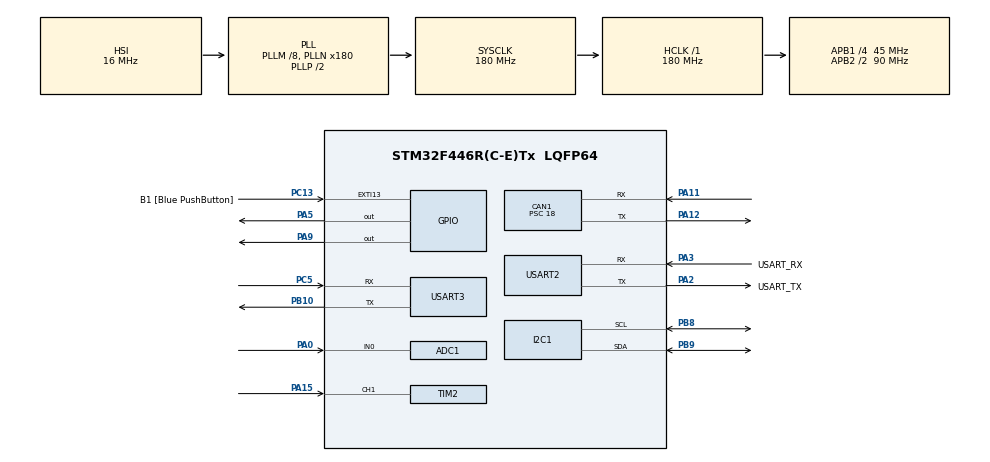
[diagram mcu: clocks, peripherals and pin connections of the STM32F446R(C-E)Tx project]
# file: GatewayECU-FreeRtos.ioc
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ADC1.Channel-0\#ChannelRegularConversion=ADC_CHANNEL_0
ADC1.ContinuousConvMode=ENABLE
ADC1.NbrOfConversionFlag=1
ADC1.Rank-0\#ChannelRegularConversion=1
ADC1.SamplingTime-0\#ChannelRegularConversion=ADC_SAMPLETIME_3CYCLES
ADC1.master=1
CAN1.BS1=CAN_BS1_2TQ
CAN1.BS2=CAN_BS2_2TQ
CAN1.CalculateBaudRate=500000
CAN1.CalculateTimeBit=2000
CAN1.CalculateTimeQuantum=400.0
CAN1.Prescaler=18
FREERTOS.Queues01=UltrasonicQueue,1,uint16_t,0,Dynamic,NULL,NULL;GyroQueue,1,uint16_t,0,Dynamic,NULL,NULL;WaterLevelQueue,1,uint16_t,0,Dynamic,NULL,NULL;SpeedQueue,1,uint16_t,0,Dynamic,NULL,NULL;TempHumiQueue,1,uint16_t,0,Dynamic,NULL,NULL;EchoQueue,1,uint32_t,0,Dynamic,NULL,NULL
FREERTOS.Tasks01=UltrasonicSenso,32,128,UltrasonicSensorTask,Default,NULL,Dynamic,NULL,NULL;WaterLevelHandl,16,128,WaterLevelTask,Default,NULL,Dynamic,NULL,NULL;GyroHandle,24,128,GyroTask,Default,NULL,Dynamic,NULL,NULL;UARTHandle,41,128,UARTTask,Default,NULL,Dynamic,NULL,NULL;CANHandle,40,128,CANTask,Default,NULL,Dynamic,NULL,NULL
Mcu.Family=STM32F4
Mcu.Name=STM32F446R(C-E)Tx
Mcu.Package=LQFP64
NVIC.CAN1_RX0_IRQn=true\:5\:0\:false\:false\:true\:true\:true\:true\:true
NVIC.PriorityGroup=NVIC_PRIORITYGROUP_4
NVIC.TIM1_UP_TIM10_IRQn=true\:15\:0\:false\:false\:true\:false\:false\:true\:true
NVIC.TIM2_IRQn=true\:5\:0\:false\:false\:true\:true\:true\:true\:true
NVIC.TimeBase=TIM1_UP_TIM10_IRQn
NVIC.TimeBaseIP=TIM1
PA0-WKUP.Signal=ADCx_IN0
PA11.Mode=CAN_Activate
PA11.Signal=CAN1_RX
PA12.Mode=CAN_Activate
PA12.Signal=CAN1_TX
PA13.GPIO_Label=TMS
PA13.Mode=Trace_Asynchronous_SW
PA13.Signal=SYS_JTMS-SWDIO
PA14.GPIO_Label=TCK
PA14.Mode=Trace_Asynchronous_SW
PA14.Signal=SYS_JTCK-SWCLK
PA15.Signal=S_TIM2_CH1_ETR
PA2.GPIO_Label=USART_TX
PA2.Mode=Asynchronous
PA2.Signal=USART2_TX
PA3.GPIO_Label=USART_RX
PA3.Mode=Asynchronous
PA3.Signal=USART2_RX
PA5.Signal=GPIO_Output
PA9.Signal=GPIO_Output
PB10.Mode=Asynchronous
PB10.Signal=USART3_TX
PB3.GPIO_Label=SWO
PB3.Mode=Trace_Asynchronous_SW
PB3.Signal=SYS_JTDO-SWO
PB8.Mode=I2C
PB8.Signal=I2C1_SCL
PB9.Mode=I2C
PB9.Signal=I2C1_SDA
PC13.GPIO_Label=B1 [Blue PushButton]
PC13.GPIO_ModeDefaultEXTI=GPIO_MODE_IT_FALLING
PC13.Signal=GPXTI13
PC14-OSC32_IN.Mode=LSE-External-Oscillator
PC14-OSC32_IN.Signal=RCC_OSC32_IN
PC15-OSC32_OUT.Mode=LSE-External-Oscillator
PC15-OSC32_OUT.Signal=RCC_OSC32_OUT
PC5.Mode=Asynchronous
PC5.Signal=USART3_RX
PH0-OSC_IN.Mode=HSE-External-Oscillator
PH0-OSC_IN.Signal=RCC_OSC_IN
PH1-OSC_OUT.Mode=HSE-External-Oscillator
PH1-OSC_OUT.Signal=RCC_OSC_OUT
ProjectManager.HeapSize=0x200
ProjectManager.StackSize=0x400
ProjectManager.TargetToolchain=STM32CubeIDE
RCC.48MHZClocksFreq_Value=84000000
RCC.AHBFreq_Value=180000000
RCC.APB1CLKDivider=RCC_HCLK_DIV4
RCC.APB1Freq_Value=45000000
RCC.APB1TimFreq_Value=90000000
RCC.APB2CLKDivider=RCC_HCLK_DIV2
RCC.APB2Freq_Value=90000000
RCC.APB2TimFreq_Value=180000000
RCC.CortexFreq_Value=180000000
RCC.FLatency-AdvancedSettings=FLASH_LATENCY_5
RCC.HCLKFreq_Value=180000000
RCC.HSE_VALUE=8000000
RCC.HSI_VALUE=16000000
RCC.PLLM=8
RCC.PLLN=180
RCC.SYSCLKFreq_VALUE=180000000
RCC.SYSCLKSource=RCC_SYSCLKSOURCE_PLLCLK
RCC.USBFreq_Value=180000000
RCC.VCOOutputFreq_Value=360000000
SH.ADCx_IN0.0=ADC1_IN0,IN0
SH.S_TIM2_CH1_ETR.0=TIM2_CH1,Input_Capture1_from_TI1
TIM2.Channel-Input_Capture1_from_TI1=TIM_CHANNEL_1
TIM2.Period=65535
TIM2.Prescaler=90-1
USART2.VirtualMode=VM_ASYNC
USART3.VirtualMode=VM_ASYNC
VP_FREERTOS_VS_CMSIS_V2.Mode=CMSIS_V2
VP_SYS_VS_tim1.Mode=TIM1
board=NUCLEO-F446RE

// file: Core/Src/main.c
/* USER CODE BEGIN Header */
/**
  ******************************************************************************
  * @file           : main.c
  * @brief          : Main program body
  ******************************************************************************
  * @attention
  *
  * Copyright (c) 2026 STMicroelectronics.
  * All rights reserved.
  *
  * This software is licensed under terms that can be found in the LICENSE file
  * in the root directory of this software component.
  * If no LICENSE file comes with this software, it is provided AS-IS.
  *
  ******************************************************************************
  */
/* USER CODE END Header */
#include "main.h"
#include "cmsis_os.h"

/* USER CODE BEGIN Includes */
#include "Cmn.h"
#include "HC_SR04.h"
#include "GY_521.h"
#include <stdio.h>
/* USER CODE END Includes */

ADC_HandleTypeDef hadc1;

CAN_HandleTypeDef hcan1;

I2C_HandleTypeDef hi2c1;

TIM_HandleTypeDef htim2;

UART_HandleTypeDef huart2;
UART_HandleTypeDef huart3;

/* Definitions for UltrasonicSenso */
osThreadId_t UltrasonicSensoHandle;
const osThreadAttr_t UltrasonicSenso_attributes = {
  .name = "UltrasonicSenso",
  .stack_size = 512 * 4,
  .priority = (osPriority_t) osPriorityAboveNormal,
};
/* Definitions for WaterLevelHandl */
osThreadId_t WaterLevelHandlHandle;
const osThreadAttr_t WaterLevelHandl_attributes = {
  .name = "WaterLevelHandl",
  .stack_size = 384 * 4,
  .priority = (osPriority_t) osPriorityBelowNormal,
};
/* Definitions for GyroHandle */
osThreadId_t GyroHandleHandle;
const osThreadAttr_t GyroHandle_attributes = {
  .name = "GyroHandle",
  .stack_size = 512 * 4,
  .priority = (osPriority_t) osPriorityNormal,
};
/* Definitions for UARTHandle */
osThreadId_t UARTHandleHandle;
const osThreadAttr_t UARTHandle_attributes = {
  .name = "UARTHandle",
  .stack_size = 512 * 4,
  .priority = (osPriority_t) osPriorityHigh1,
};
///* Definitions for CANHandle */
//osThreadId_t CANHandleHandle;
//const osThreadAttr_t CANHandle_attributes = {
//  .name = "CANHandle",
//  .stack_size = 128 * 4,
//  .priority = (osPriority_t) osPriorityHigh,
//};
/* Definitions for UltrasonicQueue */
osMessageQueueId_t UltrasonicQueueHandle;
const osMessageQueueAttr_t UltrasonicQueue_attributes = {
  .name = "UltrasonicQueue"
};
/* Definitions for GyroQueue */
osMessageQueueId_t GyroQueueHandle;
const osMessageQueueAttr_t GyroQueue_attributes = {
  .name = "GyroQueue"
};
/* Definitions for WaterLevelQueue */
osMessageQueueId_t WaterLevelQueueHandle;
const osMessageQueueAttr_t WaterLevelQueue_attributes = {
  .name = "WaterLevelQueue"
};
/* Definitions for SpeedQueue */
osMessageQueueId_t SpeedQueueHandle;
const osMessageQueueAttr_t SpeedQueue_attributes = {
  .name = "SpeedQueue"
};
/* Definitions for TempHumiQueue */
osMessageQueueId_t TempHumiQueueHandle;
const osMessageQueueAttr_t TempHumiQueue_attributes = {
  .name = "TempHumiQueue"
};
/* Definitions for EchoQueue */
osMessageQueueId_t EchoQueueHandle;
const osMessageQueueAttr_t EchoQueue_attributes = {
  .name = "EchoQueue"
};
/* USER CODE BEGIN PV */

/* HC-SR04 Variables */
uint32_t IC_Val1 = 0;
uint32_t IC_Val2 = 0;
uint32_t Difference = 0;
uint8_t Distance = 0;
uint8_t Is_First_Captured = 0;

/*TempHumi Sensor Struct*/
typedef struct {
    float temperature;
    float humidity;
} DHT11_Data_t;
/* USER CODE END PV */

void SystemClock_Config(void);
static void MX_GPIO_Init(void);
static void MX_USART2_UART_Init(void);
static void MX_I2C1_Init(void);
static void MX_TIM2_Init(void);
static void MX_ADC1_Init(void);
static void MX_CAN1_Init(void);
static void MX_USART3_UART_Init(void);
void UltrasonicSensorTask(void *argument);
void WaterLevelTask(void *argument);
void GyroTask(void *argument);
void UARTTask(void *argument);
//void CANTask(void *argument);

/* USER CODE BEGIN 0 */

//UltraSonic Sensor
void HAL_TIM_IC_CaptureCallback(TIM_HandleTypeDef *htim)
{
	if (htim->Channel == HAL_TIM_ACTIVE_CHANNEL_1)  // if the interrupt source is channel1
	{
		if (Is_First_Captured==0) // if the first value is not captured
		{
			IC_Val1 = HAL_TIM_ReadCapturedValue(htim, TIM_CHANNEL_1); // read the first value
			Is_First_Captured = 1;  // set the first captured as true
			// Now change the polarity to falling edge
			__HAL_TIM_SET_CAPTUREPOLARITY(htim, TIM_CHANNEL_1, TIM_INPUTCHANNELPOLARITY_FALLING);
		}

		else if (Is_First_Captured==1)   // if the first is already captured
		{
			IC_Val2 = HAL_TIM_ReadCapturedValue(htim, TIM_CHANNEL_1);  // read second value
			__HAL_TIM_SET_COUNTER(htim, 0);  // reset the counter

			if (IC_Val2 > IC_Val1)
			{
				Difference = IC_Val2-IC_Val1;
			}

			else if (IC_Val1 > IC_Val2)
			{
				Difference = (0xffff - IC_Val1) + IC_Val2;
			}

			Is_First_Captured = 0;

			osMessageQueuePut(EchoQueueHandle, &Difference, 0, 0);

			// set polarity to rising edge
			__HAL_TIM_SET_CAPTUREPOLARITY(htim, TIM_CHANNEL_1, TIM_INPUTCHANNELPOLARITY_RISING);
			__HAL_TIM_DISABLE_IT(&htim2, TIM_IT_CC1);
		}
	}
}

//CAN
CAN_RxHeaderTypeDef RxHeader;
uint8_t RxData[8];

void HAL_CAN_RxFifo0MsgPendingCallback(CAN_HandleTypeDef *hcan){
    HAL_CAN_GetRxMessage(&hcan1, CAN_RX_FIFO0, &RxHeader, RxData);

    if(RxHeader.StdId == 0x301){  // Speed
        uint8_t speed = RxData[0];
        osMessageQueuePut(SpeedQueueHandle, &speed, 0, 0);
    }
    else if(RxHeader.StdId == 0x302){  // Temp + Humidity
        DHT11_Data_t dht_data;
        memcpy(&dht_data.temperature, &RxData[0], 4);
        memcpy(&dht_data.humidity, &RxData[4], 4);
        osMessageQueuePut(TempHumiQueueHandle, &dht_data, 0, 0);
    }

}

// Delete CAN task entirely
/* USER CODE END 0 */

int main(void)
{

  /* MCU Configuration--------------------------------------------------------*/

  /* Reset of all peripherals, Initializes the Flash interface and the Systick. */
  HAL_Init();

  /* Configure the system clock */
  SystemClock_Config();

  /* Initialize all configured peripherals */
  MX_GPIO_Init();
  MX_USART2_UART_Init();
  MX_I2C1_Init();
  MX_TIM2_Init();
  MX_ADC1_Init();
  MX_CAN1_Init();
  MX_USART3_UART_Init();
  /* USER CODE BEGIN 2 */
  HAL_TIM_IC_Start(&htim2, TIM_CHANNEL_1);
  HAL_CAN_Start(&hcan1);

  HAL_CAN_ActivateNotification(&hcan1, CAN_IT_RX_FIFO0_MSG_PENDING);
  // These are REQUIRED for RTOS:
  HAL_NVIC_SetPriority(CAN1_RX0_IRQn, 5, 0);
  HAL_NVIC_EnableIRQ(CAN1_RX0_IRQn);
  /* USER CODE END 2 */

  /* Init scheduler */
  osKernelInitialize();

  /* Create the queue(s) */
  /* creation of UltrasonicQueue */
  UltrasonicQueueHandle = osMessageQueueNew (1, sizeof(uint8_t), &UltrasonicQueue_attributes);

  /* creation of GyroQueue */
  GyroQueueHandle = osMessageQueueNew (1, sizeof(float), &GyroQueue_attributes);

  /* creation of WaterLevelQueue */
  WaterLevelQueueHandle = osMessageQueueNew (1, sizeof(uint32_t), &WaterLevelQueue_attributes);

  /* creation of SpeedQueue */
  SpeedQueueHandle = osMessageQueueNew (1, sizeof(uint8_t), &SpeedQueue_attributes);

  /* creation of TempHumiQueue */
  TempHumiQueueHandle = osMessageQueueNew (1, sizeof(DHT11_Data_t), &TempHumiQueue_attributes);

  /* creation of EchoQueue */
  EchoQueueHandle = osMessageQueueNew (1, sizeof(uint32_t), &EchoQueue_attributes);

  /* Create the thread(s) */
  /* creation of UltrasonicSenso */
  UltrasonicSensoHandle = osThreadNew(UltrasonicSensorTask, NULL, &UltrasonicSenso_attributes);

  /* creation of WaterLevelHandl */
  WaterLevelHandlHandle = osThreadNew(WaterLevelTask, NULL, &WaterLevelHandl_attributes);

  /* creation of GyroHandle */
  GyroHandleHandle = osThreadNew(GyroTask, NULL, &GyroHandle_attributes);

  /* creation of UARTHandle */
  UARTHandleHandle = osThreadNew(UARTTask, NULL, &UARTHandle_attributes);

  /* creation of CANHandle */
 // CANHandleHandle = osThreadNew(CANTask, NULL, &CANHandle_attributes);

  /* Start scheduler */
  osKernelStart();

  /* We should never get here as control is now taken by the scheduler */

  /* Infinite loop */
  while (1)
  {

  }
}

void SystemClock_Config(void)
{
  RCC_OscInitTypeDef RCC_OscInitStruct = {0};
  RCC_ClkInitTypeDef RCC_ClkInitStruct = {0};

  /** Configure the main internal regulator output voltage
  */
  __HAL_RCC_PWR_CLK_ENABLE();
  __HAL_PWR_VOLTAGESCALING_CONFIG(PWR_REGULATOR_VOLTAGE_SCALE1);

  /** Initializes the RCC Oscillators according to the specified parameters
  * in the RCC_OscInitTypeDef structure.
  */
  RCC_OscInitStruct.OscillatorType = RCC_OSCILLATORTYPE_HSI;
  RCC_OscInitStruct.HSIState = RCC_HSI_ON;
  RCC_OscInitStruct.HSICalibrationValue = RCC_HSICALIBRATION_DEFAULT;
  RCC_OscInitStruct.PLL.PLLState = RCC_PLL_ON;
  RCC_OscInitStruct.PLL.PLLSource = RCC_PLLSOURCE_HSI;
  RCC_OscInitStruct.PLL.PLLM = 8;
  RCC_OscInitStruct.PLL.PLLN = 180;
  RCC_OscInitStruct.PLL.PLLP = RCC_PLLP_DIV2;
  RCC_OscInitStruct.PLL.PLLQ = 2;
  RCC_OscInitStruct.PLL.PLLR = 2;
  if (HAL_RCC_OscConfig(&RCC_OscInitStruct) != HAL_OK)
  {
    Error_Handler();
  }

  /** Activate the Over-Drive mode
  */
  if (HAL_PWREx_EnableOverDrive() != HAL_OK)
  {
    Error_Handler();
  }

  /** Initializes the CPU, AHB and APB buses clocks
  */
  RCC_ClkInitStruct.ClockType = RCC_CLOCKTYPE_HCLK|RCC_CLOCKTYPE_SYSCLK
                              |RCC_CLOCKTYPE_PCLK1|RCC_CLOCKTYPE_PCLK2;
  RCC_ClkInitStruct.SYSCLKSource = RCC_SYSCLKSOURCE_PLLCLK;
  RCC_ClkInitStruct.AHBCLKDivider = RCC_SYSCLK_DIV1;
  RCC_ClkInitStruct.APB1CLKDivider = RCC_HCLK_DIV4;
  RCC_ClkInitStruct.APB2CLKDivider = RCC_HCLK_DIV2;

  if (HAL_RCC_ClockConfig(&RCC_ClkInitStruct, FLASH_LATENCY_5) != HAL_OK)
  {
    Error_Handler();
  }
}

static void MX_ADC1_Init(void)
{

  ADC_ChannelConfTypeDef sConfig = {0};

  /** Configure the global features of the ADC (Clock, Resolution, Data Alignment and number of conversion)
  */
  hadc1.Instance = ADC1;
  hadc1.Init.ClockPrescaler = ADC_CLOCK_SYNC_PCLK_DIV4;
  hadc1.Init.Resolution = ADC_RESOLUTION_12B;
  hadc1.Init.ScanConvMode = DISABLE;
  hadc1.Init.ContinuousConvMode = ENABLE;
  hadc1.Init.DiscontinuousConvMode = DISABLE;
  hadc1.Init.ExternalTrigConvEdge = ADC_EXTERNALTRIGCONVEDGE_NONE;
  hadc1.Init.ExternalTrigConv = ADC_SOFTWARE_START;
  hadc1.Init.DataAlign = ADC_DATAALIGN_RIGHT;
  hadc1.Init.NbrOfConversion = 1;
  hadc1.Init.DMAContinuousRequests = DISABLE;
  hadc1.Init.EOCSelection = ADC_EOC_SINGLE_CONV;
  if (HAL_ADC_Init(&hadc1) != HAL_OK)
  {
    Error_Handler();
  }

  /** Configure for the selected ADC regular channel its corresponding rank in the sequencer and its sample time.
  */
  sConfig.Channel = ADC_CHANNEL_0;
  sConfig.Rank = 1;
  sConfig.SamplingTime = ADC_SAMPLETIME_3CYCLES;
  if (HAL_ADC_ConfigChannel(&hadc1, &sConfig) != HAL_OK)
  {
    Error_Handler();
  }

}

static void MX_CAN1_Init(void)
{

  hcan1.Instance = CAN1;
  hcan1.Init.Prescaler = 18;
  hcan1.Init.Mode = CAN_MODE_NORMAL;
  hcan1.Init.SyncJumpWidth = CAN_SJW_1TQ;
  hcan1.Init.TimeSeg1 = CAN_BS1_2TQ;
  hcan1.Init.TimeSeg2 = CAN_BS2_2TQ;
  hcan1.Init.TimeTriggeredMode = DISABLE;
  hcan1.Init.AutoBusOff = DISABLE;
  hcan1.Init.AutoWakeUp = DISABLE;
  hcan1.Init.AutoRetransmission = DISABLE;
  hcan1.Init.ReceiveFifoLocked = DISABLE;
  hcan1.Init.TransmitFifoPriority = DISABLE;
  if (HAL_CAN_Init(&hcan1) != HAL_OK)
  {
    Error_Handler();
  }
  /* USER CODE BEGIN CAN1_Init 2 */
  CAN_FilterTypeDef canfilterconfig;

  canfilterconfig.FilterBank = 18;
  canfilterconfig.FilterMode = CAN_FILTERMODE_IDMASK;
  canfilterconfig.FilterScale = CAN_FILTERSCALE_32BIT;
  canfilterconfig.FilterIdHigh = 0x300 << 5;
  canfilterconfig.FilterIdLow = 0x0000;
  canfilterconfig.FilterMaskIdHigh = 0x7FC << 5;
  canfilterconfig.FilterMaskIdLow = 0x0000;
  canfilterconfig.FilterFIFOAssignment = CAN_RX_FIFO0; /* The data will be received in FIFO0 */
  canfilterconfig.FilterActivation = CAN_FILTER_ENABLE;
  canfilterconfig.SlaveStartFilterBank = 20;
  if (HAL_CAN_ConfigFilter(&hcan1, &canfilterconfig) != HAL_OK)
    {
      /* Filter configuration Error */
      Error_Handler();
    }

  /* USER CODE END CAN1_Init 2 */

}

static void MX_I2C1_Init(void)
{

  hi2c1.Instance = I2C1;
  hi2c1.Init.ClockSpeed = 100000;
  hi2c1.Init.DutyCycle = I2C_DUTYCYCLE_2;
  hi2c1.Init.OwnAddress1 = 0;
  hi2c1.Init.AddressingMode = I2C_ADDRESSINGMODE_7BIT;
  hi2c1.Init.DualAddressMode = I2C_DUALADDRESS_DISABLE;
  hi2c1.Init.OwnAddress2 = 0;
  hi2c1.Init.GeneralCallMode = I2C_GENERALCALL_DISABLE;
  hi2c1.Init.NoStretchMode = I2C_NOSTRETCH_DISABLE;
  if (HAL_I2C_Init(&hi2c1) != HAL_OK)
  {
    Error_Handler();
  }

}

static void MX_TIM2_Init(void)
{

  TIM_MasterConfigTypeDef sMasterConfig = {0};
  TIM_IC_InitTypeDef sConfigIC = {0};

  htim2.Instance = TIM2;
  htim2.Init.Prescaler = 90-1;
  htim2.Init.CounterMode = TIM_COUNTERMODE_UP;
  htim2.Init.Period = 65535;
  htim2.Init.ClockDivision = TIM_CLOCKDIVISION_DIV1;
  htim2.Init.AutoReloadPreload = TIM_AUTORELOAD_PRELOAD_DISABLE;
  if (HAL_TIM_IC_Init(&htim2) != HAL_OK)
  {
    Error_Handler();
  }
  sMasterConfig.MasterOutputTrigger = TIM_TRGO_RESET;
  sMasterConfig.MasterSlaveMode = TIM_MASTERSLAVEMODE_DISABLE;
  if (HAL_TIMEx_MasterConfigSynchronization(&htim2, &sMasterConfig) != HAL_OK)
  {
    Error_Handler();
  }
  sConfigIC.ICPolarity = TIM_INPUTCHANNELPOLARITY_RISING;
  sConfigIC.ICSelection = TIM_ICSELECTION_DIRECTTI;
  sConfigIC.ICPrescaler = TIM_ICPSC_DIV1;
  sConfigIC.ICFilter = 0;
  if (HAL_TIM_IC_ConfigChannel(&htim2, &sConfigIC, TIM_CHANNEL_1) != HAL_OK)
  {
    Error_Handler();
  }

}

static void MX_USART2_UART_Init(void)
{

  huart2.Instance = USART2;
  huart2.Init.BaudRate = 115200;
  huart2.Init.WordLength = UART_WORDLENGTH_8B;
  huart2.Init.StopBits = UART_STOPBITS_1;
  huart2.Init.Parity = UART_PARITY_NONE;
  huart2.Init.Mode = UART_MODE_TX_RX;
  huart2.Init.HwFlowCtl = UART_HWCONTROL_NONE;
  huart2.Init.OverSampling = UART_OVERSAMPLING_16;
  if (HAL_UART_Init(&huart2) != HAL_OK)
  {
    Error_Handler();
  }

}

static void MX_USART3_UART_Init(void)
{

  huart3.Instance = USART3;
  huart3.Init.BaudRate = 115200;
  huart3.Init.WordLength = UART_WORDLENGTH_8B;
  huart3.Init.StopBits = UART_STOPBITS_1;
  huart3.Init.Parity = UART_PARITY_NONE;
  huart3.Init.Mode = UART_MODE_TX_RX;
  huart3.Init.HwFlowCtl = UART_HWCONTROL_NONE;
  huart3.Init.OverSampling = UART_OVERSAMPLING_16;
  if (HAL_UART_Init(&huart3) != HAL_OK)
  {
    Error_Handler();
  }

}

static void MX_GPIO_Init(void)
{
  GPIO_InitTypeDef GPIO_InitStruct = {0};

  /* GPIO Ports Clock Enable */
  __HAL_RCC_GPIOC_CLK_ENABLE();
  __HAL_RCC_GPIOH_CLK_ENABLE();
  __HAL_RCC_GPIOA_CLK_ENABLE();
  __HAL_RCC_GPIOB_CLK_ENABLE();

  /*Configure GPIO pin Output Level */
  HAL_GPIO_WritePin(GPIOA, GPIO_PIN_5|GPIO_PIN_9, GPIO_PIN_RESET);

  /*Configure GPIO pin : B1_Pin */
  GPIO_InitStruct.Pin = B1_Pin;
  GPIO_InitStruct.Mode = GPIO_MODE_IT_FALLING;
  GPIO_InitStruct.Pull = GPIO_NOPULL;
  HAL_GPIO_Init(B1_GPIO_Port, &GPIO_InitStruct);

  /*Configure GPIO pins : PA5 PA9 */
  GPIO_InitStruct.Pin = GPIO_PIN_5|GPIO_PIN_9;
  GPIO_InitStruct.Mode = GPIO_MODE_OUTPUT_PP;
  GPIO_InitStruct.Pull = GPIO_NOPULL;
  GPIO_InitStruct.Speed = GPIO_SPEED_FREQ_LOW;
  HAL_GPIO_Init(GPIOA, &GPIO_InitStruct);

}

void UltrasonicSensorTask(void *argument)
{
  /* USER CODE BEGIN 5 */
	uint32_t Difference = 0;
	uint8_t Distance = 0;
  /* Infinite loop */
  for(;;)
  {
	HCSR04_Read(&htim2);
	osMessageQueueGet(EchoQueueHandle, &Difference, NULL, osWaitForever);
	Distance = Difference * .034/2;
	osMessageQueuePut(UltrasonicQueueHandle, &Distance, 0, 0);
    osDelay(100);
  }
  /* USER CODE END 5 */
}

void WaterLevelTask(void *argument)
{
  /* USER CODE BEGIN WaterLevelTask */
	uint32_t Sensor_Value = 0;
  /* Infinite loop */
  for(;;)
  {
	HAL_ADC_Start(&hadc1);
	HAL_ADC_PollForConversion(&hadc1, HAL_MAX_DELAY);

	Sensor_Value = HAL_ADC_GetValue(&hadc1);
	HAL_ADC_Stop(&hadc1);

    osMessageQueuePut(WaterLevelQueueHandle, &Sensor_Value, 0, 0);
    osDelay(500);
  }
  /* USER CODE END WaterLevelTask */
}

void GyroTask(void *argument)
{
  /* USER CODE BEGIN GyroTask */
	  float ZTilt;
	  float Tilt_Offset;

	  HAL_StatusTypeDef ret = GY521_Connection(&hi2c1);
	  if (ret == HAL_OK){
	  	  printf("The device is ready \n");
	  }else{
	  	  printf("U fucked gng \n");
	  	  Error_Handler();
	  }

	  GY521_Config(&hi2c1);

	  Tilt_Offset = GY521_Calculate_Offset(&hi2c1);
  /* Infinite loop */
  for(;;)
  {
	ZTilt = GY521_Calculate_Tilt(Tilt_Offset, &hi2c1);
	osMessageQueuePut(GyroQueueHandle, &ZTilt, 0, 0);
    osDelay(200);
  }
  /* USER CODE END GyroTask */
}

void UARTTask(void *argument)
{
  float ZTilt = 0.0;
  uint32_t Sensor_Value = 0;
  uint8_t Distance = 0;
  uint8_t Speed = 0;
  DHT11_Data_t Dht11_Data = {0.0, 0.0};

  uint8_t uart_frame[21];  // Frame buffer

  for(;;)
  {
    // Get all sensor data from queues
    osMessageQueueGet(SpeedQueueHandle, &Speed, NULL, 0);
    osMessageQueueGet(TempHumiQueueHandle, &Dht11_Data, NULL, 0);
    osMessageQueueGet(GyroQueueHandle, &ZTilt, NULL, 0);
    osMessageQueueGet(UltrasonicQueueHandle, &Distance, NULL, 0);
    osMessageQueueGet(WaterLevelQueueHandle, &Sensor_Value, NULL, 0);

    // Build frame
    uart_frame[0] = 0xAA;  // Start byte

    uart_frame[1] = Speed;

    memcpy(&uart_frame[2], &Dht11_Data.temperature, 4);
    memcpy(&uart_frame[6], &Dht11_Data.humidity, 4);
    memcpy(&uart_frame[10], &ZTilt, 4);

    uart_frame[14] = Distance;

    memcpy(&uart_frame[15], &Sensor_Value, 4);

    // Calculate checksum (XOR of data bytes)
    uint8_t checksum = 0;
    for(int i = 1; i < 19; i++) {
      checksum ^= uart_frame[i];
    }
    uart_frame[19] = checksum;

    uart_frame[20] = 0x55;  // End byte

    // Send frame via UART
    HAL_UART_Transmit(&huart3, uart_frame, 21, HAL_MAX_DELAY);

    // Print all sensor data
       printf("Speed: %u km/h | Temp: %.1f C | Humi: %.1f %% | Tilt: %.1f deg | Dist: %u cm | Water: %lu\n",
              Speed, Dht11_Data.temperature, Dht11_Data.humidity, ZTilt, Distance, Sensor_Value);

    osDelay(100);
  }
}

//void CANTask(void *argument)
//{
//  /* USER CODE BEGIN CANTask */
////  /* Infinite loop */
////  for(;;)
////  {
////    osDelay(1);
////  }
//  /* USER CODE END CANTask */
//}

void HAL_TIM_PeriodElapsedCallback(TIM_HandleTypeDef *htim)
{
  if (htim->Instance == TIM1)
  {
    HAL_IncTick();
  }
}

void Error_Handler(void)
{
  __disable_irq();
  while (1)
  {
  }
}
